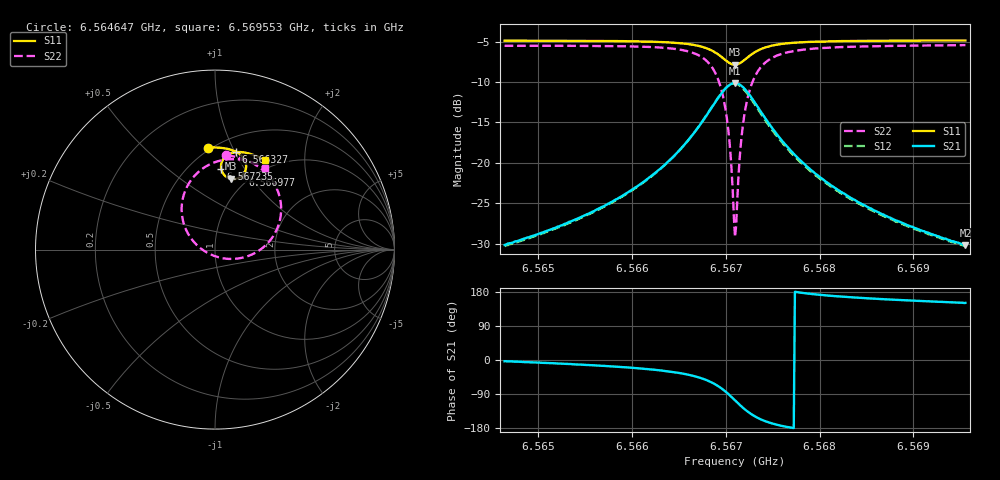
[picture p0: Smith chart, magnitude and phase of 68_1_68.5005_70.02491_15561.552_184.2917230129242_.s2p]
#  HZ  S  RI  R  50.00
! Rohde & Schwarz Vector Network Analyzer
! Rohde-Schwarz,ZNB20-2Port,1311601062101988,3.16
! Created: UTC 3/20/2024, 4:51:37 PM
! freq[Hz]  re:S11  im:S11  re:S21  im:S21  re:S12  im:S12  re:S22  im:S22
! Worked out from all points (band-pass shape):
!   401 points, 6.564647 GHz to 6.569553 GHz, reference 50 ohm
!   highest |S21| = -10.14 dB at 6.5671 GHz (marker M1); lowest = -30.2 dB at 6.569553 GHz (marker M2)
!   |S21| within 3 dB of the highest: 6.566853 GHz to 6.567345 GHz (491.1 kHz wide, 0.00748 % of centre)
!   lowest |S11| = -7.9 dB at 6.5671 GHz (marker M3), VSWR 2.35, Z = 42.3 + j39.9 ohm
!   |S11| at or under -10 dB: nowhere
!   |S22| runs from -29.2 to -5.4 dB; largest |S21 - S12| = 0.016
!   S11 on the Smith chart (normalised r, x): 6.564647 GHz: 0.48, +0.81; 6.566327 GHz: 0.64, +1.01; 6.566977 GHz: 0.91, +0.93; 6.567235 GHz: 0.71, +0.79; 6.569553 GHz: 0.88, +1.30
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6.5646466e9  -0.0392 0.568  0.031 -0.00182  0.0305 -0.00227  0.0638 0.5254
6.5654684e9  0.0295 0.5672  0.0454 -0.00998  0.0447 -0.0104  0.1464 0.5081
6.5662902e9  0.1105 0.5481  0.0807 -0.0413  0.0796 -0.0421  0.2676 0.4426
6.566327e9  0.1148 0.5462  0.0834 -0.0446  0.0823 -0.0455  0.275 0.4358
6.5665846e9  0.1471 0.5239  0.106 -0.0824  0.1044 -0.0843  0.334 0.3609
6.5667808e9  0.1704 0.4862  0.1184 -0.1492  0.1152 -0.1526  0.3685 0.232
6.5668912e9  0.1719 0.4488  0.1023 -0.2147  0.0963 -0.219  0.3419 0.1071
6.5669771e9  0.1537 0.4142  0.0533 -0.2738  0.0427 -0.2771  0.2501 -0.00216
6.5670261e9  0.1316 0.3986  0.00425 -0.2985  -0.00938 -0.2988  0.1578 -0.044
6.5670507e9  0.1177 0.3941  -0.0255 -0.3044  -0.0398 -0.3026  0.1035 -0.0519
6.5670875e9  0.0949 0.393  -0.0727 -0.3024  -0.0869 -0.2967  0.019 -0.0425
6.5670997e9  0.0872 0.3943  -0.0882 -0.2986  -0.1022 -0.2915  -0.00833 -0.0337
6.567112e9  0.0798 0.3965  -0.1035 -0.2933  -0.1168 -0.2851  -0.0344 -0.0222
6.5671242e9  0.0727 0.3994  -0.1178 -0.2864  -0.1305 -0.2771  -0.0589 -0.0081
6.5671488e9  0.06 0.4076  -0.1437 -0.2692  -0.1547 -0.2578  -0.1023 0.0263
6.5671733e9  0.0494 0.4179  -0.1651 -0.2481  -0.1741 -0.2353  -0.1365 0.0668
6.5672346e9  0.0351 0.4477  -0.1968 -0.1889  -0.2001 -0.1754  -0.1815 0.1755
6.5673328e9  0.0384 0.4898  -0.1985 -0.1074  -0.1967 -0.0971  -0.1698 0.3175
6.56748e9  0.0654 0.5243  -0.1641 -0.0398  -0.1603 -0.0342  -0.0947 0.4304
6.5679215e9  0.1358 0.5437  -0.0887 0.00926  -0.0864 0.0105  0.0694 0.5027
6.5687433e9  0.2167 0.5263  -0.0431 0.0159  -0.0422 0.0163  0.202 0.4881
6.5695528e9  0.2788 0.4985  -0.0271 0.0152  -0.0264 0.0153  0.2788 0.4558
